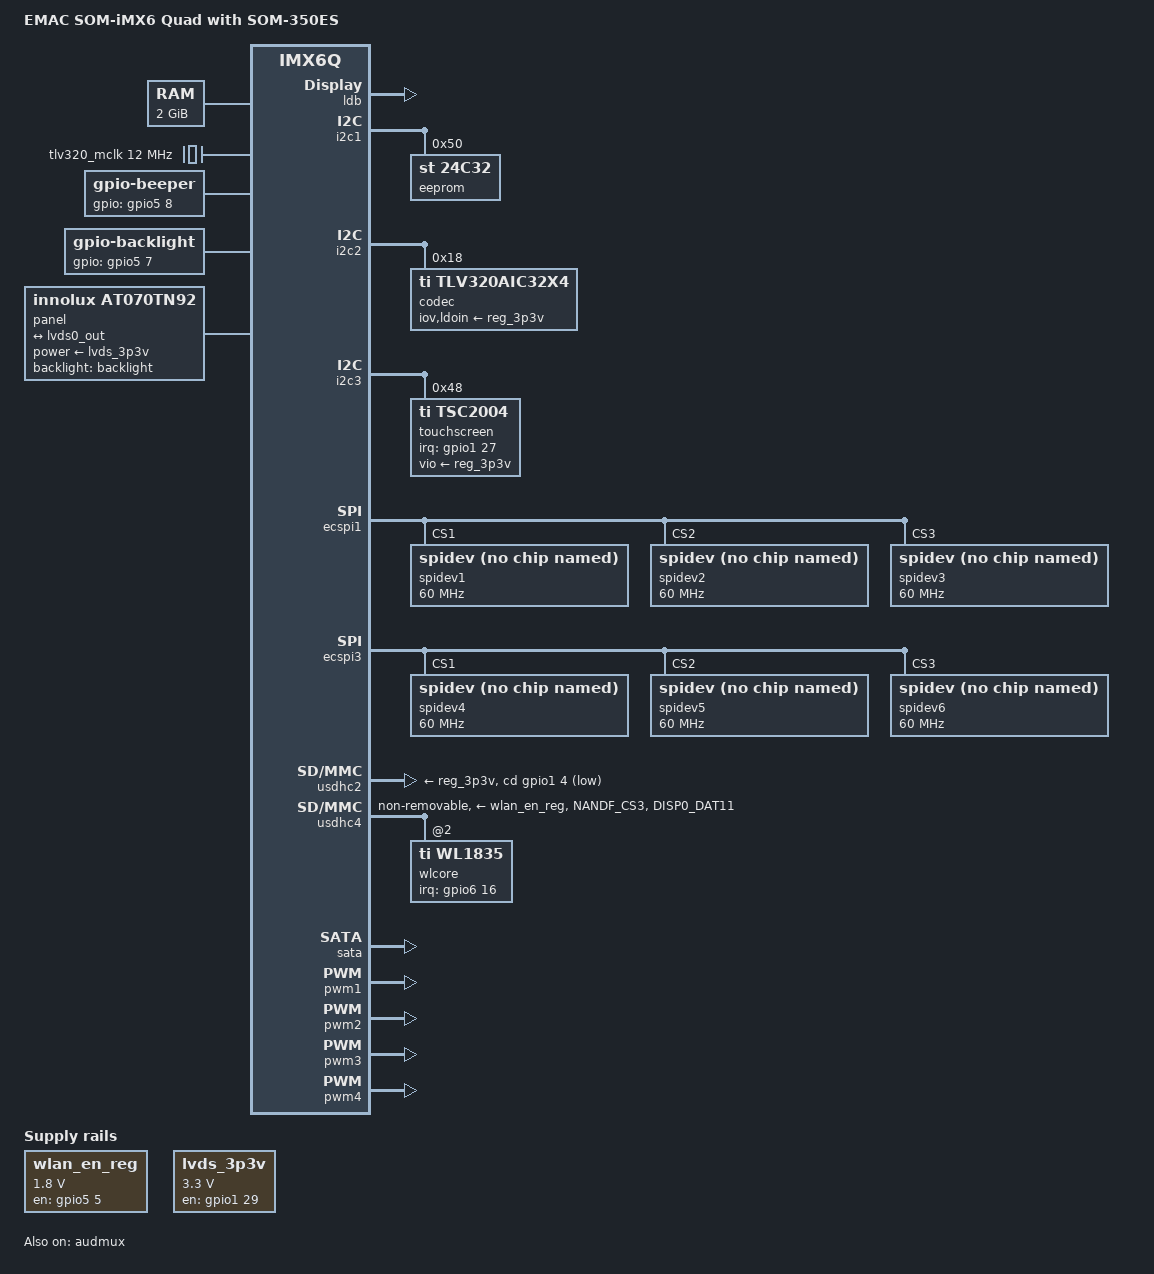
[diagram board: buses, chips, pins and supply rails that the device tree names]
/*
 * Copyright 2016 EMAC Inc.
 * Copyright 2016 QWERTY Embedded Design
 *
 * Author: Michael Welling <mwelling@ieee.org>
 *
 * This program is free software; you can redistribute it and/or modify
 * it under the terms of the GNU General Public License version 2 as
 * published by the Free Software Foundation.
 *
 */

/dts-v1/;
#include "imx6q.dtsi"
#include "som-imx6dq.dtsi"
#include <dt-bindings/sound/fsl-imx-audmux.h>

/ {
	model = "EMAC SOM-iMX6 Quad with SOM-350ES";
	compatible = "emac,som-imx6q-350es", "fsl,imx6q";

	chosen {
		stdout-path = &uart2;
	};

	memory {
		device_type = "memory";
		reg = <0x10000000 0x80000000>;
	};

	clocks {
		#address-cells = <1>;
		#size-cells = <0>;

		tlv320_mclk: tlv320_mclk {
			#clock-cells = <0>;
			compatible = "fixed-clock";
			clock-frequency = <12000000>;
			clock-output-names = "mclk";
		};
	};

	regulators {
		wlan_en_reg: regulator@3 {
		        compatible = "regulator-fixed";
		        reg = <3>;
		        regulator-name = "wlan-en-regulator";
		        regulator-min-microvolt = <1800000>;
		        regulator-max-microvolt = <1800000>;
		        gpio = <&gpio5 5 0>;

		        startup-delay-us = <70000>;
		        enable-active-high;
		};
		lvds_3p3v: lvds_3p3v_reg {
			compatible = "regulator-fixed";
			reg = <4>;
			regulator-name = "LVDS 3P3V";
			regulator-min-microvolt = <3300000>;
			regulator-max-microvolt = <3300000>;
			regulator-boot-on;
			enable-active-high;
			gpio = <&gpio1 29 GPIO_ACTIVE_HIGH>;
		};
	};

	sound {
		compatible = "fsl,imx-audio-aic32x4";
		model = "tlv320aic32x4";
		audio-codec = <&codec>;
		ssi-controller = <&ssi1>;
		audio-routing =
			"Headphone Jack", "HPL",
			"Headphone Jack", "HPR",
			"IN1_L", "Mic Jack",
			"IN1_R", "Mic Jack",
			"Mic Jack", "Mic Bias";
		mux-ext-port = <4>;
		mux-int-port = <1>;
	};

	beeper: beeper {
		compatible = "gpio-beeper";
		gpios = <&gpio5 8 GPIO_ACTIVE_HIGH>;
	};

	backlight: backlight {
		compatible = "gpio-backlight";
		gpios = <&gpio5 7 GPIO_ACTIVE_HIGH>;
		default-on;
		status = "okay";
	};

	panel {
		compatible = "innolux,at070tn92", "simple-panel";
		backlight = <&backlight>;
		power-supply = <&lvds_3p3v>;

		port {
			panel_in: endpoint {
				remote-endpoint = <&lvds0_out>;
			};
		};
	};
};

&audmux {
	pinctrl-names = "default";
	pinctrl-0 = <&pinctrl_audmux>;
	status = "okay";
};

&ldb {
	status = "okay";

	lvds-channel@0 {
		fsl,data-mapping = "spwg";
		fsl,data-width = <18>;
		status = "okay";

		port@4 {
			reg = <4>;

			lvds0_out: endpoint {
				remote-endpoint = <&panel_in>;
			};
		};
	};
};

&i2c1 {
	eeprom@50 {
		compatible = "st,24c32";
		reg = <0x50>;
		pagesize = <32>;
	};
};


&i2c2 {
	codec: tlv320aic32x4@18{
		compatible = "ti,tlv320aic32x4";
		#sound-dai-cells = <0>;
		reg = <0x18>;
		clocks = <&tlv320_mclk>;
		clock-names = "mclk";
		iov-supply = <&reg_3p3v>;
		ldoin-supply = <&reg_3p3v>;
		input-use = <1 1 0 0 0 0>;
		cmode = <0x11 0>;
		status = "okay";
	};
};

&i2c3 {
	touchscreen: tsc2004@48 {
		compatible = "ti,tsc2004";
		reg = <0x48>;
		vio-supply = <&reg_3p3v>;
		pinctrl-names = "default";
		pinctrl-0 = <&pinctrl_tsc>;
		interrupts-extended = <&gpio1 27 IRQ_TYPE_EDGE_RISING>;

		touchscreen-fuzz-x = <4>;
		touchscreen-fuzz-y = <7>;
		touchscreen-fuzz-pressure = <2>;
		touchscreen-size-x = <4096>;
		touchscreen-size-y = <4096>;
		touchscreen-max-pressure = <400>;

		ti,x-plate-ohms = <850>;
		ti,esd-recovery-timeout-ms = <800>;
	};
};

&ecspi1 {
	spidev1: spi@1 {
		compatible = "emac,spidev";
		reg = <1>;
		spi-max-frequency = <60000000>;
	};

	spidev2: spi@2 {
		compatible = "emac,spidev";
		reg = <2>;
		spi-max-frequency = <60000000>;
	};

	spidev3: spi@3 {
		compatible = "emac,spidev";
		reg = <3>;
		spi-max-frequency = <60000000>;
	};
};

&ecspi3 {

	spidev4: spi@4 {
		compatible = "emac,spidev";
		reg = <1>;
		spi-max-frequency = <60000000>;
	};

	spidev5: spi@5 {
		compatible = "emac,spidev";
		reg = <2>;
		spi-max-frequency = <60000000>;
	};

	spidev6: spi@6 {
		compatible = "emac,spidev";
		reg = <3>;
		spi-max-frequency = <60000000>;
	};
};

&iomuxc {
	imx6qdl-350es {
		pinctrl_wifi: wifigrp {
			fsl,pins = <
				MX6QDL_PAD_NANDF_CS3__GPIO6_IO16   	0x13059		/* WL_IRQ */
				MX6QDL_PAD_DISP0_DAT11__GPIO5_IO05 	0x13059		/* WL_EN */
			>;
		};
		pinctrl_bt: btgrp {
			fsl,pins = <
				MX6QDL_PAD_DISP0_DAT12__GPIO5_IO06	0x13059		/* BT_EN */
			>;
		};
		pinctrl_tsc: tscgrp {
			fsl,pins = <
				MX6QDL_PAD_ENET_RXD0__GPIO1_IO27	0x1b0b0
 			>;
 		};
	};
};

&usdhc2 {
	pinctrl-names = "default";
	pinctrl-0 = <&pinctrl_usdhc2>;
	vmmc-supply = <&reg_3p3v>;
	cd-gpios = <&gpio1 4 GPIO_ACTIVE_LOW>;
	status = "okay";
};


&usdhc4 {
	pinctrl-names = "default";
	pinctrl-0 = <&pinctrl_usdhc4 &pinctrl_wifi>;
	status = "okay";
	vmmc-supply = <&wlan_en_reg>;
        cap-power-off-card;
        keep-power-in-suspend;
	enable-sdio-wakeup;
	no-1-8-v;
	non-removable;

        #address-cells = <1>;
        #size-cells = <0>;
        wlcore: wlcore@0 {
                compatible = "ti,wl1835";
                reg = <0x2>;
		interrupt-parent = <&gpio6>;
		interrupts = <16 IRQ_TYPE_LEVEL_HIGH>;
	};
};

&sata {
	status = "okay";
};

&pwm1 {
	pinctrl-names = "default";
	pinctrl-0 = <&pinctrl_pwm1>;
	#pwm-cells = <3>;
	status = "okay";
};

&pwm2 {
	pinctrl-names = "default";
	pinctrl-0 = <&pinctrl_pwm2>;
	#pwm-cells = <3>;
	status = "okay";
};

&pwm3 {
	pinctrl-names = "default";
	pinctrl-0 = <&pinctrl_pwm3>;
	#pwm-cells = <3>;
	status = "okay";
};

&pwm4 {
	pinctrl-names = "default";
	pinctrl-0 = <&pinctrl_pwm4>;
	#pwm-cells = <3>;
	status = "okay";
};
